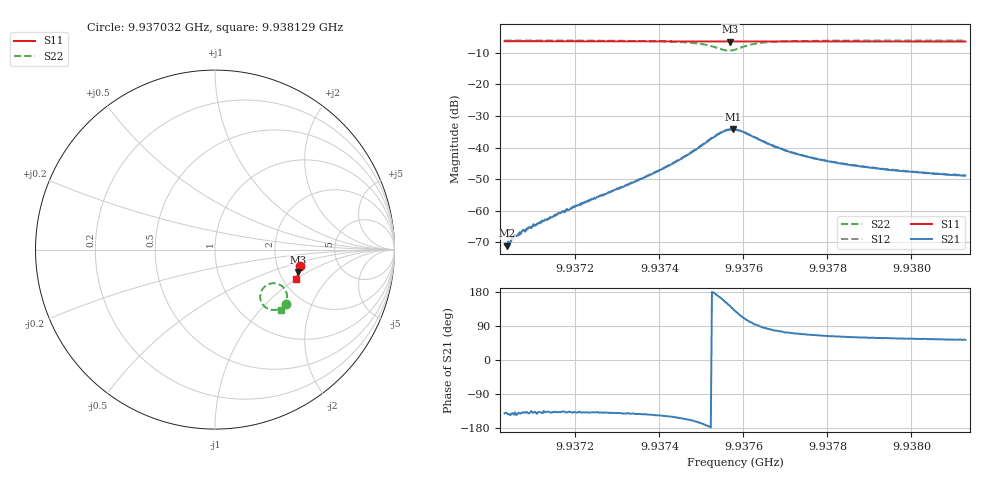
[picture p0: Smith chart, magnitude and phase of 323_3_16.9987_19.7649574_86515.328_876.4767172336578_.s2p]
#  HZ  S  RI  R  50.00
! Rohde & Schwarz Vector Network Analyzer
! Rohde-Schwarz,ZNB20-2Port,1311601062101988,3.16
! Created: UTC 3/20/2024, 11:06:36 PM
! freq[Hz]  re:S11  im:S11  re:S21  im:S21  re:S12  im:S12  re:S22  im:S22
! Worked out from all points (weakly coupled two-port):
!   401 points, 9.937032 GHz to 9.938129 GHz, reference 50 ohm
!   highest |S21| = -34.25 dB at 9.937575 GHz (marker M1); lowest = -71.1 dB at 9.937037 GHz (marker M2)
!   lowest |S11| = -6.4 dB at 9.937569 GHz (marker M3), VSWR 2.85, Z = 127 - j41.1 ohm
!   |S11| at or under -10 dB: nowhere
!   |S22| runs from -9.3 to -6.0 dB; largest |S21 - S12| = 0.00083
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9.9370317e9  0.4761 -0.0901  -0.000227 -0.000186  -0.000224 -0.000157  0.3971 -0.3018
9.9370372e9  0.4761 -0.0905  -0.000213 -0.00018  -0.000233 -0.000168  0.3969 -0.3019
9.9370399e9  0.4761 -0.0906  -0.000259 -0.00019  -0.000245 -0.000186  0.3964 -0.3021
9.9370509e9  0.4759 -0.0916  -0.000292 -0.000243  -0.000293 -0.000218  0.3956 -0.3029
9.9370646e9  0.4756 -0.0924  -0.00031 -0.000269  -0.00034 -0.000258  0.3947 -0.3039
9.9370728e9  0.4754 -0.093  -0.000356 -0.000311  -0.000372 -0.000256  0.3941 -0.3044
9.9371661e9  0.4737 -0.0992  -0.000674 -0.000625  -0.000719 -0.0006  0.3869 -0.3115
9.9372154e9  0.4727 -0.1026  -0.000989 -0.000873  -0.000983 -0.000854  0.3821 -0.3154
9.9373992e9  0.4689 -0.115  -0.00358 -0.0024  -0.00367 -0.00237  0.3505 -0.3332
9.9374485e9  0.4676 -0.1185  -0.00571 -0.00291  -0.00589 -0.0029  0.3301 -0.3367
9.9375061e9  0.4657 -0.1221  -0.0112 -0.00204  -0.0114 -0.00186  0.2849 -0.324
9.9375445e9  0.4641 -0.124  -0.0163 0.00424  -0.0166 0.00477  0.252 -0.2671
9.9375692e9  0.4635 -0.1248  -0.015 0.012  -0.0147 0.0128  0.275 -0.2079
9.9375747e9  0.4636 -0.1249  -0.0139 0.0135  -0.0134 0.0142  0.287 -0.1987
9.9375802e9  0.4635 -0.1252  -0.0122 0.0147  -0.0119 0.0152  0.3002 -0.1921
9.9375994e9  0.4638 -0.1262  -0.00653 0.0165  -0.00627 0.0166  0.3459 -0.1898
9.9376378e9  0.4637 -0.1287  -2.85e-06 0.0133  0.000407 0.0134  0.3922 -0.226
9.9377008e9  0.4629 -0.1332  0.00265 0.00844  0.00275 0.00858  0.4015 -0.2701
9.9377639e9  0.4615 -0.1378  0.0028 0.00627  0.00294 0.00626  0.3965 -0.2917
9.9378462e9  0.4594 -0.1432  0.00265 0.00472  0.0027 0.00472  0.389 -0.3075
9.9379476e9  0.4569 -0.1499  0.00237 0.00373  0.00245 0.00372  0.3805 -0.3196
9.9381286e9  0.4522 -0.1616  0.00215 0.00288  0.00225 0.00287  0.368 -0.3344
